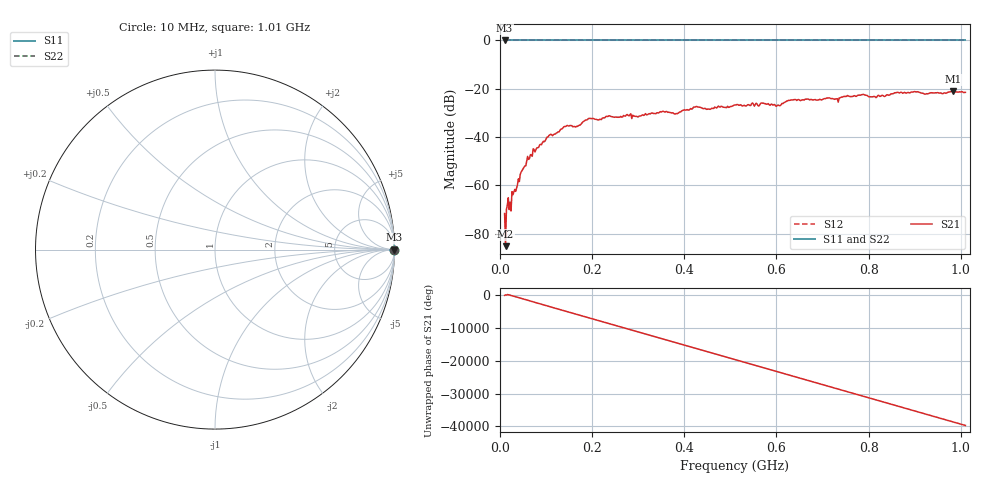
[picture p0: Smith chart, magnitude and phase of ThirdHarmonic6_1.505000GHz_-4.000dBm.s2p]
! 8/16/2025 5:41:40 PM
! C:\ANRITSUVNA\TEMP\TEMP.S2P
! CHANNEL.1
! TR.MEASUREMENT
! RAW.DATA
! RF.CORRECTION.OFF
! AVERAGING.OFF
! IF.BANDWIDTH: 5KHZ
! SWEEPTYPE:  FREQ.SWEEP(Linear)
! Reference Plane Port Info
! PORT:  PORT1  PORT2
! DISTANCE:  0  m  0  m
! TIME:  0  s  0  s
! PHASE.OFFSET:  0  deg.  0  deg.
! LOSS:  0  dB  0  dB
! REF.LOSS:  0  dB  0  dB
! REF.FREQ:  0  Hz  0  Hz
! Power Info
! POWER:  -20  dBm  -20  dBm
! EFF.POWER:  -20  dBm  -20  dBm
! SOURCE.ATTEN:  0  dB  0  dB
! TEST.ATTEN:  0  dB  0  dB
# GHZ S RI R 50.0
! FREQ.GHZ  S11RE  S11IM  S21RE  S21IM  S12RE  S12IM  S22RE  S22IM
!; PortSelection: Port_12
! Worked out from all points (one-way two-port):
!   501 points, 10 MHz to 1.01 GHz, reference 50 ohm
!   highest |S21| = -20.98 dB at 984 MHz (marker M1); lowest = -85.1 dB at 12 MHz (marker M2)
!   lowest |S11| = 0.0 dB at 10 MHz (marker M3)
!   |S11| at or under -10 dB: nowhere
!   |S22| runs from 0.0 to 0.0 dB; largest |S21 - S12| = 1.1
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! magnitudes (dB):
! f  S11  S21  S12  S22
! 10 MHz  0.0  -71.6  0.0  0.0
! 12 MHz  0.0  -85.1  0.0  0.0
! 16 MHz  0.0  -68.0  0.0  0.0
! 18 MHz  0.0  -65.1  0.0  0.0
! 24 MHz  0.0  -70.6  0.0  0.0
! 48 MHz  0.0  -53.8  0.0  0.0
! 76 MHz  0.0  -46.1  0.0  0.0
! 106 MHz  0.0  -39.4  0.0  0.0
! 142 MHz  0.0  -35.6  0.0  0.0
! 178 MHz  0.0  -34.2  0.0  0.0
! 196 MHz  0.0  -32.3  0.0  0.0
! 344 MHz  0.0  -30.0  0.0  0.0
! 382 MHz  0.0  -30.2  0.0  0.0
! 424 MHz  0.0  -27.5  0.0  0.0
! 452 MHz  0.0  -28.3  0.0  0.0
! 510 MHz  0.0  -26.7  0.0  0.0
! 604 MHz  0.0  -26.8  0.0  0.0
! 630 MHz  0.0  -24.7  0.0  0.0
! 678 MHz  0.0  -24.6  0.0  0.0
! 844 MHz  0.0  -22.7  0.0  0.0
! 984 MHz  0.0  -21.0  0.0  0.0
! 1.01 GHz  0.0  -21.5  0.0  0.0
